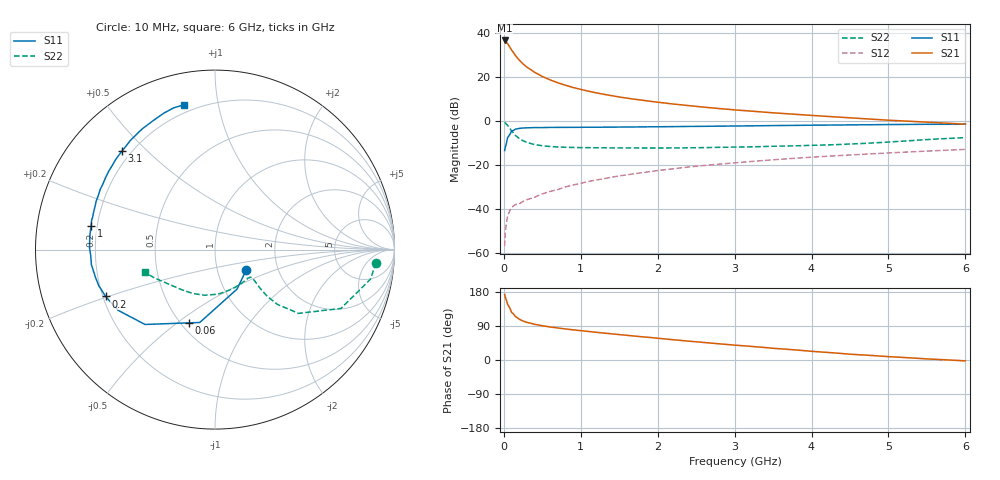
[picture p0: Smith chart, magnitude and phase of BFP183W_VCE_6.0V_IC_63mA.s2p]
! Infineon Technologies  Discrete & RF Semiconductors
! BFP183W
! VCE =  6.0 V,  IC =  63 mA
! Common Emitter S-Parameters:  Jan 2017
# GHz  S  MA  R  50
!  f  S11  S21  S12  S22
! GHz  MAG  ANG  MAG  ANG  MAG  ANG  MAG  ANG
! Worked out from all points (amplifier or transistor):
!   77 points, 10 MHz to 6 GHz, reference 50 ohm
!   highest |S21| = 36.4 dB at 10 MHz (marker M1)
!   |S21| within 3 dB of that: start of sweep to 76.6 MHz
!   unconditionally stable (mu >= 1): 452 MHz to 3.556 GHz
!   at 130 MHz: K = 0.48, MSG = 34.7 dB, |S12| = -38.7 dB
!   at 2.2 GHz: K = 1.12, MAG = 12.6 dB, |S12| = -21.9 dB
!   at 6 GHz: K = 0.87, MSG = 5.7 dB, |S12| = -13.1 dB
!   S11 on the Smith chart (normalised r, x): 10 MHz: 1.38, -0.32; 60 MHz: 0.55, -0.55; 200 MHz: 0.21, -0.20; 1 GHz: 0.18, +0.09; 3.1 GHz: 0.17, +0.42; 6 GHz: 0.16, +0.80
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0.01  0.2077 -32.9  66.09 173.0  0.0014 87.3  0.8994 -4.7
0.02  0.2518 -60.7  64.44 165.3  0.003 82.8  0.8823 -10.7
0.05  0.4149 -101.8  55.68 146.5  0.0069 65.1  0.7751 -25.0
0.06  0.4336 -109.7  52.19 143.4  0.0076 62.2  0.7348 -27.0
0.1  0.5711 -133.1  40.36 126.1  0.0106 54.5  0.5853 -37.4
0.15  0.6374 -148.0  30.15 114.9  0.0123 50.2  0.462 -41.3
0.2  0.663 -156.8  23.65 107.7  0.0128 50.0  0.3916 -41.8
0.25  0.6779 -162.7  19.38 102.8  0.0146 50.4  0.3471 -41.1
0.3  0.6837 -167.0  16.34 99.3  0.0159 52.4  0.3178 -40.1
0.4  0.6938 -173.1  12.47 94.1  0.0181 57.6  0.2844 -38.4
0.5  0.6931 -177.3  10.04 90.4  0.0216 60.9  0.2679 -37.5
0.6  0.699 179.3  8.416 87.2  0.0245 61.5  0.2573 -37.5
0.7  0.7 176.4  7.233 84.6  0.027 65.1  0.251 -37.7
0.9  0.7018 171.3  5.645 79.6  0.0343 66.9  0.2448 -40.0
1  0.7024 169.2  5.109 77.4  0.0375 68.6  0.2426 -41.3
1.1  0.7064 166.9  4.654 75.3  0.0414 68.8  0.2424 -42.8
1.5  0.7116 159.5  3.439 67.1  0.0554 69.5  0.2386 -50.3
2.1  0.7255 148.7  2.494 55.5  0.0766 67.9  0.2382 -64.7
3.1  0.7547 133.4  1.697 37.7  0.1132 62.6  0.2508 -92.4
4.1  0.7871 120.0  1.277 21.5  0.1507 56.0  0.2764 -119.8
5.1  0.8136 109.7  0.998 7.8  0.1874 48.7  0.3331 -146.6
6  0.8254 101.9  0.829 -2.4  0.2214 41.8  0.4114 -162.0
